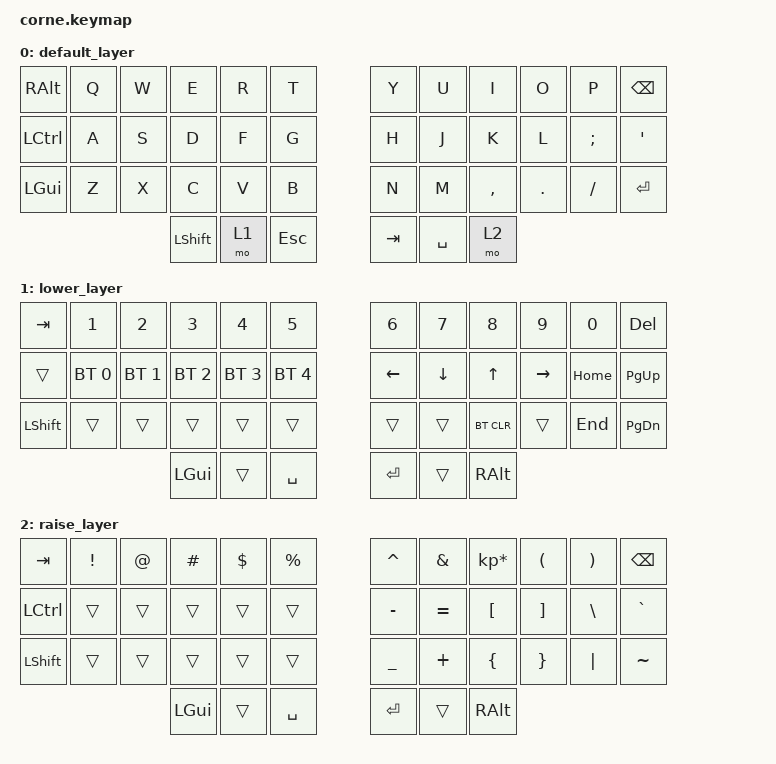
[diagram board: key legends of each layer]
/*
 * Copyright (c) 2020 The ZMK Contributors
 *
 * SPDX-License-Identifier: MIT
 */

#include <behaviors.dtsi>
#include <dt-bindings/zmk/keys.h>
#include <dt-bindings/zmk/bt.h>

/ {
        keymap {
                compatible = "zmk,keymap";

                default_layer {
// -----------------------------------------------------------------------------------------
// | RALT |  Q  |  W  |  E  |  R  |  T  |   |  Y  |  U   |  I  |  O  |  P  | BKSP |
// | CTRL |  A  |  S  |  D  |  F  |  G  |   |  H  |  J   |  K  |  L  |  ;  |  '   |
// | GUI  |  Z  |  X  |  C  |  V  |  B  |   |  N  |  M   |  ,  |  .  |  /  | RET  |
//                    | SHT | LWR | ESC |   | TAB | SPC  | RSE |
                        bindings = <
   &kp RALT  &kp Q &kp W &kp E &kp R &kp T   &kp Y &kp U  &kp I     &kp O   &kp P    &kp BSPC
   &kp LCTRL &kp A &kp S &kp D &kp F &kp G   &kp H &kp J  &kp K     &kp L   &kp SEMI &kp SQT
   &kp LGUI  &kp Z &kp X &kp C &kp V &kp B   &kp N &kp M  &kp COMMA &kp DOT &kp FSLH &kp RET
                   &kp LSHFT &mo 1 &kp ESC   &kp TAB &kp SPC &mo 2
                        >;
                };
                lower_layer {
// -----------------------------------------------------------------------------------------
// |  TAB |  1  |  2  |  3  |  4  |  5  |   |  6  |  7  |  8  |  9  |  0   | DEL |
// | BTCLR| BT1 | BT2 | BT3 | BT4 | BT5 |   | LFT | DWN |  UP | RGT | HOME | PAGE_UP |
// | SHFT |     |     |     |     |     |   |     |     |     |     | END  | PAGE_DOWN |
//                    | GUI |     | SPC |   | ENT |     | ALT |
                        bindings = <
   &kp TAB    &kp N1       &kp N2       &kp N3       &kp N4       &kp N5         &kp N6   &kp N7   &kp N8 &kp N9    &kp N0 &kp DELETE
   &trans     &bt BT_SEL 0 &bt BT_SEL 1 &bt BT_SEL 2 &bt BT_SEL 3 &bt BT_SEL 4   &kp LEFT &kp DOWN &kp UP &kp RIGHT &kp HOME &kp PAGE_UP
   &kp LSHFT  &trans       &trans       &trans       &trans       &trans         &trans   &trans   &bt BT_CLR &trans    &kp END &kp PAGE_DOWN
                                    &kp LGUI     &trans       &kp SPACE      &kp RET  &trans   &kp RALT
                        >;
                };

                raise_layer {
// -----------------------------------------------------------------------------------------
// |  TAB |  !  |  @  |  #  |  $  |  %  |   |  ^  |  &  |  *  |  (  |  )  | BKSP |
// | CTRL |     |     |     |     |     |   |  -  |  =  |  [  |  ]  |  \  |  `   |
// | SHFT |     |     |     |     |     |   |  _  |  +  |  {  |  }  | "|" |  ~   |
//                    | GUI |     | SPC |   | ENT |     | ALT |
                        bindings = <
   &kp  TAB  &kp EXCL &kp AT &kp HASH &kp DLLR &kp PRCNT   &kp CARET &kp AMPS  &kp KP_MULTIPLY &kp LPAR &kp RPAR &kp BSPC
   &kp LCTRL &trans   &trans &trans   &trans   &trans      &kp MINUS &kp EQUAL &kp LBKT        &kp RBKT &kp BSLH &kp GRAVE
   &kp LSHFT &trans   &trans &trans   &trans   &trans      &kp UNDER &kp PLUS  &kp LBRC        &kp RBRC &kp PIPE &kp TILDE
                             &kp LGUI &trans   &kp SPACE   &kp RET   &trans    &kp RALT
                        >;
                };
        };
};
